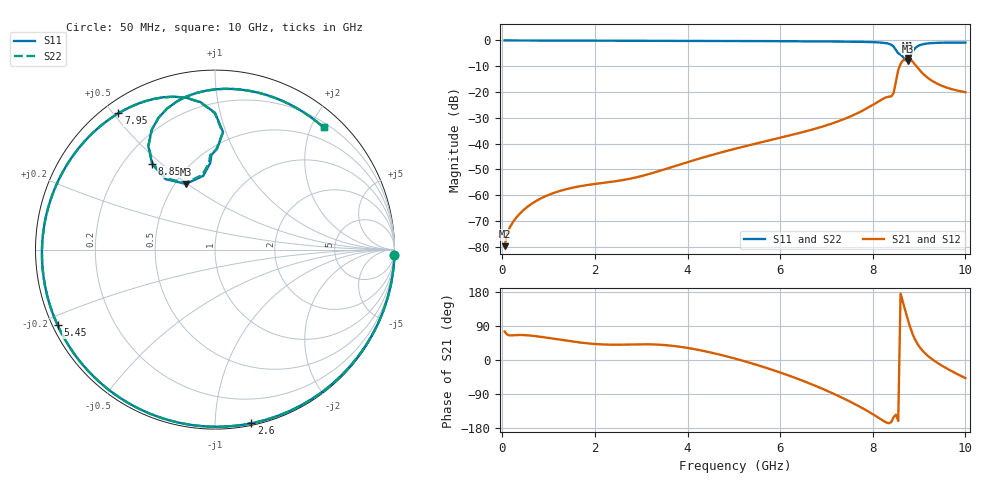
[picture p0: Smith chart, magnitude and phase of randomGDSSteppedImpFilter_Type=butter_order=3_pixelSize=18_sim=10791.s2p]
! freq	dB(S11)	phase(S11)	dB(S12)	phase(S12)
!  dB(S21)	phase(S21)	dB(S22)	phase(S22)
!S-par simulation data
#  GHz  S  DB  R 50
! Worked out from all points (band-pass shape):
!   200 points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, 50 MHz to 10 GHz, reference 50 ohm
!   highest |S21| = -6.80 dB at 8.75 GHz (marker M1); lowest = -79.8 dB at 50 MHz (marker M2)
!   |S21| within 3 dB of the highest: 8.585 GHz to 8.932 GHz (346.7 MHz wide, 3.96 % of centre)
!   lowest |S11| = -8.0 dB at 8.75 GHz (marker M3), VSWR 2.33, Z = 28.3 + j24.7 ohm
!   |S11| at or under -10 dB: nowhere
!   |S22| runs from -7.8 to 0.0 dB; largest |S21 - S12| = 0
!   S11 on the Smith chart (normalised r, x): 50 MHz: 0, -73; 2.6 GHz: 0.01, -1.23; 5.45 GHz: 0.01, -0.23; 7.95 GHz: 0.05, +0.52; 8.85 GHz: 0.32, +0.47; 10 GHz: 0.28, +2.20
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0.05  -0.00 -1.6  -79.82 75.0  -79.82 75.0  -0.00 -1.6
0.1  -0.00 -3.2  -75.28 67.4  -75.28 67.4  -0.00 -3.2
0.2  -0.00 -6.3  -71.34 64.9  -71.34 64.9  -0.00 -6.3
0.55  -0.02 -17.3  -64.44 65.1  -64.44 65.1  -0.02 -17.3
1.05  -0.04 -32.7  -59.57 57.2  -59.57 57.2  -0.04 -32.7
1.75  -0.07 -53.7  -56.35 45.1  -56.35 45.1  -0.07 -53.7
2.6  -0.10 -78.2  -54.18 40.6  -54.18 40.6  -0.10 -78.2
3.4  -0.13 -100.2  -50.60 40.3  -50.60 40.3  -0.13 -100.2
5.05  -0.21 -143.8  -41.92 3.0  -41.92 3.0  -0.21 -143.7
5.45  -0.24 -154.4  -40.14 -11.2  -40.14 -11.2  -0.24 -154.3
6.7  -0.35 170.4  -34.55 -65.1  -34.55 -65.1  -0.35 170.4
7.4  -0.45 147.5  -30.37 -103.2  -30.37 -103.2  -0.45 147.5
7.95  -0.62 125.4  -25.52 -139.2  -25.52 -139.2  -0.62 125.4
8.35  -1.30 100.6  -21.81 -167.0  -21.81 -167.0  -1.31 100.7
8.45  -2.36 90.0  -20.43 -151.0  -20.43 -151.0  -2.38 90.1
8.55  -5.02 88.8  -11.50 -160.7  -11.50 -160.7  -5.07 89.3
8.65  -6.33 93.2  -7.80 152.8  -7.80 152.8  -6.28 93.9
8.75  -7.95 113.9  -6.80 109.8  -6.80 109.8  -7.82 113.9
8.85  -4.55 126.3  -8.00 71.8  -8.00 71.8  -4.50 126.0
9.05  -1.62 108.7  -12.27 28.1  -12.27 28.1  -1.61 108.6
9.25  -1.05 93.6  -15.31 4.9  -15.31 4.9  -1.05 93.5
10  -0.81 48.3  -20.06 -47.8  -20.06 -47.8  -0.81 48.4
